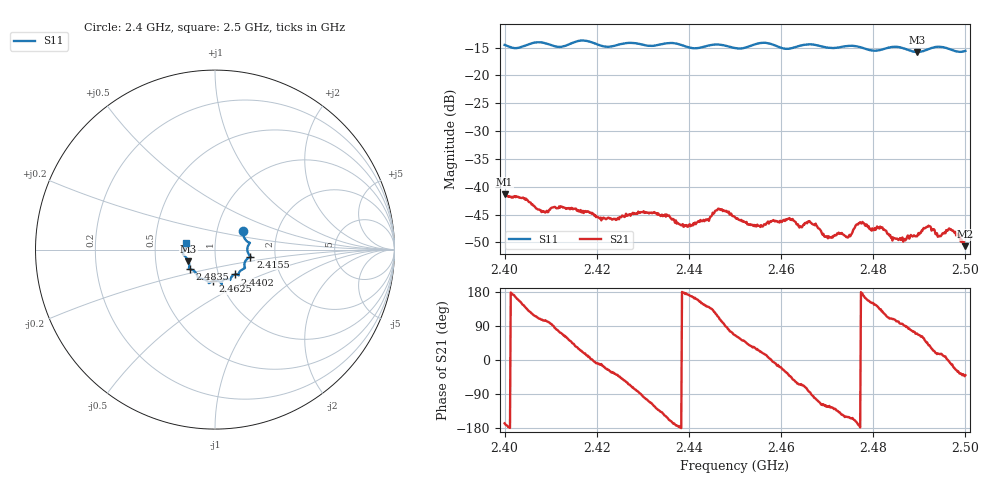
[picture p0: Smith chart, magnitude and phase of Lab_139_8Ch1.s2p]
# Hz S RI R 50
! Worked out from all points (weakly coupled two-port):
!   601 points, 2.4 GHz to 2.5 GHz, reference 50 ohm
!   highest |S21| = -41.37 dB at 2.4 GHz (marker M1); lowest = -50.7 dB at 2.5 GHz (marker M2)
!   lowest |S11| = -15.8 dB at 2.4895 GHz (marker M3), VSWR 1.39, Z = 36.8 - j4.98 ohm
!   |S11| at or under -10 dB: start of sweep to end of sweep
!   S12 and S22 are empty: the file has one direction only
!   S11 on the Smith chart (normalised r, x): 2.4 GHz: 1.33, +0.29; 2.4155 GHz: 1.49, -0.12; 2.4402 GHz: 1.20, -0.34; 2.4625 GHz: 0.92, -0.33; 2.4835 GHz: 0.74, -0.17; 2.5 GHz: 0.72, +0.06
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2.4e9  0.156 0.1048  -0.00833 -0.0019  0 0  0 0
2.4085e9  0.1926 0.0355  -0.00146 0.00583  0 0  0 0
2.4155e9  0.1974 -0.0384  0.0052 0.00364  0 0  0 0
2.416667e9  0.2011 -0.0423  0.00537 0.00244  0 0  0 0
2.423667e9  0.1636 -0.0837  0.0043 -0.00285  0 0  0 0
2.433333e9  0.1321 -0.1335  -0.00384 -0.0043  0 0  0 0
2.440167e9  0.1116 -0.1382  -0.00454 0.000801  0 0  0 0
2.446667e9  0.0844 -0.1688  -0.00189 0.00596  0 0  0 0
2.45e9  0.0643 -0.1638  0.00221 0.00485  0 0  0 0
2.455667e9  0.0377 -0.1919  0.0042 0.00166  0 0  0 0
2.4625e9  -0.0115 -0.1759  0.00325 -0.00398  0 0  0 0
2.466667e9  -0.0344 -0.1866  -0.000168 -0.00465  0 0  0 0
2.470333e9  -0.052 -0.169  -0.002 -0.00298  0 0  0 0
2.474667e9  -0.0902 -0.1604  -0.0031 -0.00176  0 0  0 0
2.477333e9  -0.0975 -0.1495  -0.00469 7.24e-05  0 0  0 0
2.483333e9  -0.1393 -0.1098  -0.00141 0.00349  0 0  0 0
2.4835e9  -0.1403 -0.1097  -0.00122 0.00343  0 0  0 0
2.4895e9  -0.1477 -0.0658  0.00124 0.00336  0 0  0 0
2.492e9  -0.1683 -0.0358  0.00347 0.00281  0 0  0 0
2.494167e9  -0.1794 -0.0227  0.00342 0.00102  0 0  0 0
2.496833e9  -0.1705 -0.00705  0.0041 -0.000679  0 0  0 0
2.5e9  -0.1612 0.0394  0.00224 -0.00189  0 0  0 0
